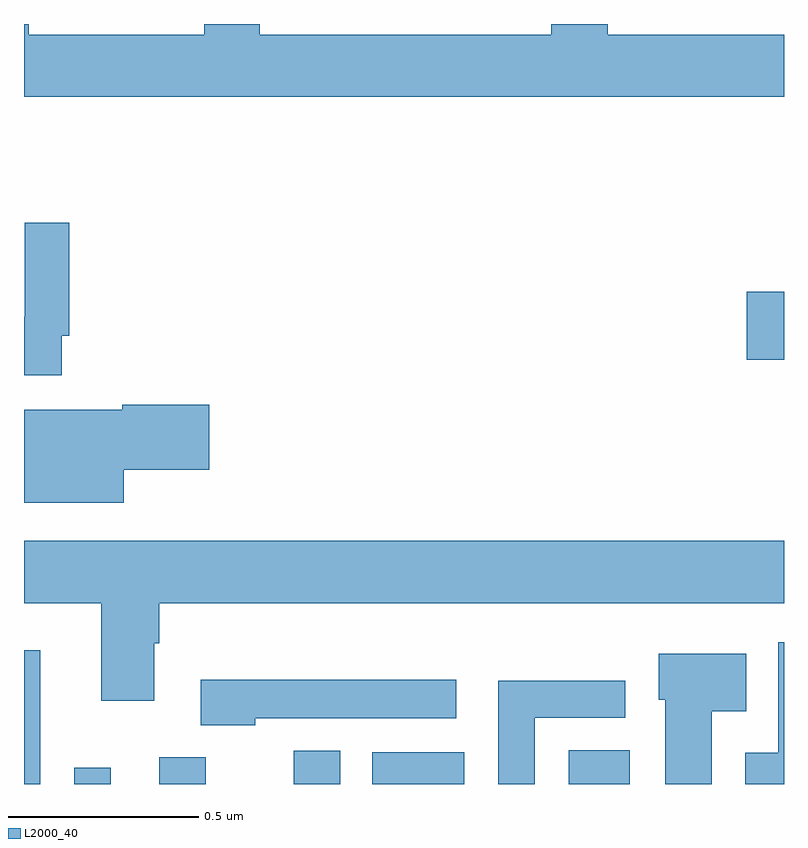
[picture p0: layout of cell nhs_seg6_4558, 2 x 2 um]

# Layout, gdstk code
import gdstk
lib = gdstk.Library(unit=1e-6, precision=1e-09)
def R(c, l, rs):  # rectangles x0, y0, x1, y1
    for r in rs: c.add(gdstk.rectangle(r[:2], r[2:], *l))
def P(c, l, *ps):  # polygons
    for p in ps: c.add(gdstk.Polygon(p, *l))
L2000_40 = (2000, 40)

nhs_seg6_4558 = lib.new_cell('nhs_seg6_4558')
R(nhs_seg6_4558, L2000_40, [(171,973.5,171.043,973.852), (171.132,973.5,171.228,973.543), (171.356,973.5,171.478,973.57), (171.71,973.5,171.832,973.588), (171.917,973.5,172.159,973.584), (172.433,973.5,172.594,973.589), (172.902,974.617,173,974.795)])
P(nhs_seg6_4558, L2000_40, [(173,975.472),(172.536,975.472),(172.536,975.5),(172.388,975.5),(172.388,975.472),(171.621,975.472),(171.621,975.5),(171.474,975.5),(171.474,975.472),(171.012,975.472),(171.012,975.5),(171,975.5),(171,975.308),(173,975.308)],
  [(171.099,974.68),(171.119,974.68),(171.119,974.977),(171.002,974.977),(171.002,974.729),(171,974.729),(171,974.576),(171.099,974.576)],
  [(171.262,974.327),(171.487,974.327),(171.487,974.498),(171.258,974.498),(171.258,974.485),(171,974.485),(171,974.24),(171.262,974.24)],
  [(171.343,973.87),(171.356,973.87),(171.356,973.976),(173,973.976),(173,974.14),(171,974.14),(171,973.976),(171.203,973.976),(171.203,973.719),(171.343,973.719)],
  [(173,973.873),(172.985,973.873),(172.985,973.582),(172.898,973.582),(172.898,973.5),(173,973.5)],
  [(172.81,973.691),(172.9,973.691),(172.9,973.843),(172.67,973.843),(172.67,973.722),(172.688,973.722),(172.688,973.5),(172.81,973.5)],
  [(171.609,973.673),(172.138,973.673),(172.138,973.774),(171.465,973.774),(171.465,973.655),(171.609,973.655)],
  [(172.344,973.674),(172.582,973.674),(172.582,973.772),(172.248,973.772),(172.248,973.5),(172.344,973.5)])

lib.write_gds('nhs_seg6_4558.gds')
